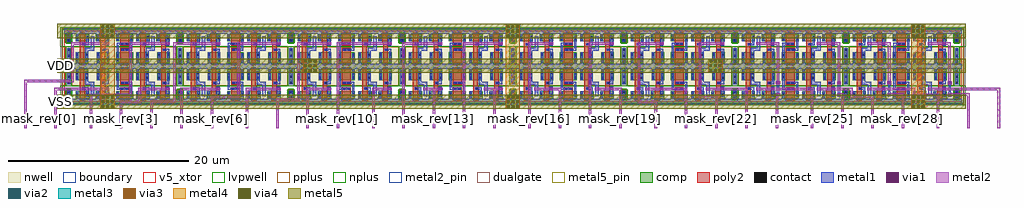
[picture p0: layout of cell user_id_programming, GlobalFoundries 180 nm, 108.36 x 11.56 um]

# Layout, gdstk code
import gdstk
lib = gdstk.Library(unit=1e-6, precision=1e-09)
def R(c, l, rs):  # rectangles x0, y0, x1, y1
    for r in rs: c.add(gdstk.rectangle(r[:2], r[2:], *l))
def A(c, l, x, y, w, h, nx, ny, dx, dy):  # array of equal rectangles
    R(c, l, [(x+i*dx, y+j*dy, x+i*dx+w, y+j*dy+h) for i in range(nx) for j in range(ny)])
def P(c, l, *ps):  # polygons
    for p in ps: c.add(gdstk.Polygon(p, *l))
boundary = (0, 0)
nwell = (21, 0)
comp = (22, 0)
poly2 = (30, 0)
pplus = (31, 0)
nplus = (32, 0)
contact = (33, 0)
metal1 = (34, 0)
via1 = (35, 0)
metal2 = (36, 0)
metal2_pin = (36, 10)
via2 = (38, 0)
via3 = (40, 0)
via4 = (41, 0)
metal3 = (42, 0)
metal4 = (46, 0)
dualgate = (55, 0)
metal5 = (81, 0)
metal5_pin = (81, 10)
v5_xtor = (112, 1)
lvpwell = (204, 0)

endcap_7t5p0 = lib.new_cell('ENDCAP_7T5P0')
R(endcap_7t5p0, boundary, [(0,0,1.12,3.92)])
R(endcap_7t5p0, nwell, [(-0.43,1.76,1.55,4.35)])
R(endcap_7t5p0, comp, [(0.28,0.28,0.8,1.28), (0.36,1.92,0.72,3.56)])
R(endcap_7t5p0, pplus, [(0.2,0.2,0.88,1.36)])
P(endcap_7t5p0, pplus, [(-0.2,1.76),(0.2,1.76),(0.2,3.72),(0.88,3.72),(0.88,1.76),(1.32,1.76),(1.32,4.12),(-0.2,4.12)])
P(endcap_7t5p0, nplus, [(-0.2,-0.2),(1.32,-0.2),(1.32,1.76),(0.88,1.76),(0.88,3.72),(0.88,1.36),(0.88,0.2),(0.2,0.2),(0.2,1.36),(0.88,1.36),(0.88,3.72),(0.2,3.72),(0.2,1.76),(-0.2,1.76)])
A(endcap_7t5p0, contact, 0.43, 1.99, 0.22, 0.22, 1, 3, 0, 0.64)
R(endcap_7t5p0, contact, [(0.43,0.4,0.65,0.62), (0.43,0.905,0.65,1.125)])
P(endcap_7t5p0, metal1, [(0,-0.3),(1.12,-0.3),(1.12,0.3),(0.71,0.3),(0.71,1.19),(0.37,1.19),(0.37,0.3),(0,0.3)],
  [(0,3.62),(0.37,3.62),(0.37,1.92),(0.71,1.92),(0.71,3.62),(1.12,3.62),(1.12,4.22),(0,4.22)])
R(endcap_7t5p0, dualgate, [(-0.28,-0.28,1.4,4.2)])
R(endcap_7t5p0, v5_xtor, [(0,0,1.12,3.92)])
R(endcap_7t5p0, lvpwell, [(-0.43,-0.43,1.55,1.76)])
endcap_7t5p0.add(gdstk.Label('VSS', (0.56,-0.01), layer=34, texttype=10))
endcap_7t5p0.add(gdstk.Label('VDD', (0.56,3.935), layer=34, texttype=10))
endcap_7t5p0.add(gdstk.Label('& Vendor GLOBALFOUNDRIES', (0,2), layer=63, texttype=63))
endcap_7t5p0.add(gdstk.Label('& Product GF018hv5v_mcu_sc7', (0,1.5), layer=63, texttype=63))
endcap_7t5p0.add(gdstk.Label('& Version 2015q2v1', (0,1), layer=63, texttype=63))
endcap_7t5p0.add(gdstk.Label('& Metric 1.00', (0,0.5), layer=63, texttype=63))

tieh_7t5p0 = lib.new_cell('TIEH_7T5P0')
R(tieh_7t5p0, boundary, [(0,0,2.24,3.92)])
R(tieh_7t5p0, nwell, [(-0.43,1.76,2.67,4.35)])
R(tieh_7t5p0, comp, [(0.185,0.34,1.665,1.16), (0.185,2.36,1.565,3.58)])
P(tieh_7t5p0, poly2, [(0.625,0.12),(1.225,0.12),(1.225,1.635),(1.125,1.635),(1.125,3.8),(0.625,3.8)])
R(tieh_7t5p0, pplus, [(-0.2,1.76,2.44,4.12)])
R(tieh_7t5p0, nplus, [(-0.2,-0.2,2.44,1.76)])
R(tieh_7t5p0, contact, [(0.255,0.635,0.475,0.855), (1.375,0.65,1.595,0.87), (0.935,1.345,1.155,1.565), (0.255,2.55,0.475,2.77), (1.275,2.55,1.495,2.77), (0.255,3.02,0.475,3.24), (1.275,3.02,1.495,3.24)])
R(tieh_7t5p0, metal1, [(1.22,2.305,1.58,3.39)])
P(tieh_7t5p0, metal1, [(0.875,1.335),(1.37,1.335),(1.37,0.53),(1.6,0.53),(1.6,1.57),(0.875,1.57)],
  [(0,-0.3),(2.24,-0.3),(2.24,0.3),(0.48,0.3),(0.48,1.16),(0.25,1.16),(0.25,0.3),(0,0.3)],
  [(0,3.62),(0.25,3.62),(0.25,2.36),(0.48,2.36),(0.48,3.62),(2.24,3.62),(2.24,4.22),(0,4.22)])
R(tieh_7t5p0, dualgate, [(-0.28,-0.28,2.52,4.2)])
R(tieh_7t5p0, v5_xtor, [(0,0,2.24,3.92)])
R(tieh_7t5p0, lvpwell, [(-0.43,-0.43,2.67,1.76)])
tieh_7t5p0.add(gdstk.Label('Z', (1.4,3.08), layer=34, texttype=10))
tieh_7t5p0.add(gdstk.Label('VDD', (1.12,3.935), layer=34, texttype=10))
tieh_7t5p0.add(gdstk.Label('VSS', (1.12,-0.03), layer=34, texttype=10))
tieh_7t5p0.add(gdstk.Label('& Vendor GLOBALFOUNDRIES', (0,2), layer=63, texttype=63))
tieh_7t5p0.add(gdstk.Label('& Product GF018hv5v_mcu_sc7', (0,1.5), layer=63, texttype=63))
tieh_7t5p0.add(gdstk.Label('& Version 2015q2v1', (0,1), layer=63, texttype=63))
tieh_7t5p0.add(gdstk.Label('& Metric 1.00', (0,0.5), layer=63, texttype=63))

fillcap_x4_7t5p0 = lib.new_cell('FILLCAP_X4_7T5P0')
R(fillcap_x4_7t5p0, boundary, [(0,0,2.24,3.92)])
R(fillcap_x4_7t5p0, nwell, [(-0.43,1.76,2.67,4.35)])
R(fillcap_x4_7t5p0, comp, [(0.18,0.34,2.06,1.16), (0.18,2.36,2.06,3.58)])
R(fillcap_x4_7t5p0, poly2, [(0.62,0.12,1.62,1.62), (0.62,1.875,1.62,3.8)])
R(fillcap_x4_7t5p0, pplus, [(-0.2,1.76,2.44,4.12)])
R(fillcap_x4_7t5p0, nplus, [(-0.2,-0.2,2.44,1.76)])
R(fillcap_x4_7t5p0, contact, [(0.25,0.735,0.47,0.955), (1.77,0.735,1.99,0.955), (0.765,1.33,0.985,1.55), (1.235,1.33,1.455,1.55), (0.805,1.965,1.025,2.185), (1.275,1.965,1.495,2.185), (0.25,2.59,0.47,2.81), (1.77,2.59,1.99,2.81), (0.25,3.06,0.47,3.28), (1.77,3.06,1.99,3.28)])
P(fillcap_x4_7t5p0, metal1, [(0.245,1.325),(1.52,1.325),(1.52,1.555),(0.475,1.555),(0.475,3.39),(0.245,3.39)],
  [(0.73,1.96),(1.765,1.96),(1.765,0.53),(1.995,0.53),(1.995,2.19),(0.73,2.19)],
  [(0,-0.3),(2.24,-0.3),(2.24,0.3),(0.475,0.3),(0.475,1.095),(0.245,1.095),(0.245,0.3),(0,0.3)],
  [(0,3.62),(1.765,3.62),(1.765,2.49),(1.995,2.49),(1.995,3.62),(2.24,3.62),(2.24,4.22),(0,4.22)])
R(fillcap_x4_7t5p0, dualgate, [(-0.28,-0.28,2.52,4.2)])
R(fillcap_x4_7t5p0, v5_xtor, [(0,0,2.24,3.92)])
R(fillcap_x4_7t5p0, lvpwell, [(-0.43,-0.43,2.67,1.76)])
fillcap_x4_7t5p0.add(gdstk.Label('VDD', (1.12,3.91), layer=34, texttype=10))
fillcap_x4_7t5p0.add(gdstk.Label('VSS', (1.12,-0.03), layer=34, texttype=10))
fillcap_x4_7t5p0.add(gdstk.Label('& Vendor GLOBALFOUNDRIES', (0,2), layer=63, texttype=63))
fillcap_x4_7t5p0.add(gdstk.Label('& Product GF018hv5v_mcu_sc7', (0,1.5), layer=63, texttype=63))
fillcap_x4_7t5p0.add(gdstk.Label('& Version 2015q2v1', (0,1), layer=63, texttype=63))
fillcap_x4_7t5p0.add(gdstk.Label('& Metric 1.00', (0,0.5), layer=63, texttype=63))

tiel_7t5p0 = lib.new_cell('TIEL_7T5P0')
R(tiel_7t5p0, boundary, [(0,0,2.24,3.92)])
R(tiel_7t5p0, nwell, [(-0.43,1.76,2.67,4.35)])
R(tiel_7t5p0, comp, [(0.18,0.34,1.66,1.16), (0.28,2.36,1.66,3.58)])
P(tiel_7t5p0, poly2, [(0.62,0.12),(1.22,0.12),(1.22,3.8),(0.72,3.8),(0.72,1.38),(0.62,1.38)])
R(tiel_7t5p0, pplus, [(-0.2,1.76,2.44,4.12)])
R(tiel_7t5p0, nplus, [(-0.2,-0.2,2.44,1.76)])
R(tiel_7t5p0, contact, [(0.25,0.65,0.47,0.87), (1.37,0.675,1.59,0.895), (0.93,1.955,1.15,2.175), (0.35,2.55,0.57,2.77), (1.37,2.55,1.59,2.77), (0.35,3.075,0.57,3.295), (1.37,3.075,1.59,3.295)])
R(tiel_7t5p0, metal1, [(1.22,0.53,1.595,1.65)])
P(tiel_7t5p0, metal1, [(0.87,1.95),(1.595,1.95),(1.595,3.39),(1.365,3.39),(1.365,2.185),(0.87,2.185)],
  [(0,-0.3),(2.24,-0.3),(2.24,0.3),(0.475,0.3),(0.475,1.16),(0.245,1.16),(0.245,0.3),(0,0.3)],
  [(0,3.62),(0.345,3.62),(0.345,2.345),(0.575,2.345),(0.575,3.62),(2.24,3.62),(2.24,4.22),(0,4.22)])
R(tiel_7t5p0, dualgate, [(-0.28,-0.28,2.52,4.2)])
R(tiel_7t5p0, v5_xtor, [(0,0,2.24,3.92)])
R(tiel_7t5p0, lvpwell, [(-0.43,-0.43,2.67,1.76)])
tiel_7t5p0.add(gdstk.Label('ZN', (1.4,0.84), layer=34, texttype=10))
tiel_7t5p0.add(gdstk.Label('VDD', (1.12,3.915), layer=34, texttype=10))
tiel_7t5p0.add(gdstk.Label('VSS', (1.12,-0.01), layer=34, texttype=10))
tiel_7t5p0.add(gdstk.Label('& Vendor GLOBALFOUNDRIES', (0,2), layer=63, texttype=63))
tiel_7t5p0.add(gdstk.Label('& Product GF018hv5v_mcu_sc7', (0,1.5), layer=63, texttype=63))
tiel_7t5p0.add(gdstk.Label('& Version 2015q2v1', (0,1), layer=63, texttype=63))
tiel_7t5p0.add(gdstk.Label('& Metric 1.00', (0,0.5), layer=63, texttype=63))

filltie_7t5p0 = lib.new_cell('FILLTIE_7T5P0')
R(filltie_7t5p0, boundary, [(0,0,1.12,3.92)])
R(filltie_7t5p0, nwell, [(-0.43,1.76,1.55,4.35)])
R(filltie_7t5p0, comp, [(0.28,0.28,0.84,1.28), (0.36,1.92,0.76,3.56)])
R(filltie_7t5p0, pplus, [(0.2,0.2,0.92,1.36)])
P(filltie_7t5p0, pplus, [(-0.2,1.76),(0.2,1.76),(0.2,3.72),(0.92,3.72),(0.92,1.76),(1.32,1.76),(1.32,4.12),(-0.2,4.12)])
P(filltie_7t5p0, nplus, [(-0.2,-0.2),(1.32,-0.2),(1.32,1.76),(0.92,1.76),(0.92,3.72),(0.92,1.36),(0.92,0.2),(0.2,0.2),(0.2,1.36),(0.92,1.36),(0.92,3.72),(0.2,3.72),(0.2,1.76),(-0.2,1.76)])
A(filltie_7t5p0, contact, 0.45, 1.99, 0.22, 0.22, 1, 3, 0, 0.64)
R(filltie_7t5p0, contact, [(0.45,0.4,0.67,0.62), (0.45,0.905,0.67,1.125)])
P(filltie_7t5p0, metal1, [(0,-0.3),(1.12,-0.3),(1.12,0.3),(0.73,0.3),(0.73,1.185),(0.39,1.185),(0.39,0.3),(0,0.3)],
  [(0,3.62),(0.39,3.62),(0.39,1.93),(0.73,1.93),(0.73,3.62),(1.12,3.62),(1.12,4.22),(0,4.22)])
R(filltie_7t5p0, dualgate, [(-0.28,-0.28,1.4,4.2)])
R(filltie_7t5p0, v5_xtor, [(0,0,1.12,3.92)])
R(filltie_7t5p0, lvpwell, [(-0.43,-0.43,1.55,1.76)])
filltie_7t5p0.add(gdstk.Label('VDD', (0.57,3.92), layer=34, texttype=10))
filltie_7t5p0.add(gdstk.Label('VSS', (0.57,0), layer=34, texttype=10))
filltie_7t5p0.add(gdstk.Label('& Vendor GLOBALFOUNDRIES', (0,2), layer=63, texttype=63))
filltie_7t5p0.add(gdstk.Label('& Product GF018hv5v_mcu_sc7', (0,1.5), layer=63, texttype=63))
filltie_7t5p0.add(gdstk.Label('& Version 2015q2v1', (0,1), layer=63, texttype=63))
filltie_7t5p0.add(gdstk.Label('& Metric 1.00', (0,0.5), layer=63, texttype=63))

user_id_programming = lib.new_cell('user_id_programming')
A(user_id_programming, pplus, 12.285, 5.12, 0.005, 1.58, 8, 2, 12.32, 1.9)
A(user_id_programming, pplus, 11.965, 6.7, 0.645, 0.12, 8, 2, 12.32, 0.2)
A(user_id_programming, pplus, 10.365, 6.82, 3.345, 0.08, 8, 1, 12.32, 0)
R(user_id_programming, pplus, [(5.89,6.82,6.99,6.9), (8.225,6.82,9.325,6.9), (14.945,6.82,16.045,6.9), (18.21,6.82,19.31,6.9), (20.545,6.82,21.645,6.9), (27.265,6.82,28.365,6.9), (30.53,6.82,31.63,6.9), (32.865,6.82,33.965,6.9), (39.585,6.82,40.685,6.9), (42.85,6.82,43.95,6.9), (45.185,6.82,46.285,6.9), (51.905,6.82,53.005,6.9), (55.17,6.82,56.27,6.9), (57.505,6.82,58.605,6.9), (64.225,6.82,65.325,6.9), (67.49,6.82,68.59,6.9), (69.825,6.82,70.925,6.9), (76.545,6.82,77.645,6.9), (79.81,6.82,80.91,6.9), (82.145,6.82,83.245,6.9), (88.865,6.82,89.965,6.9), (92.13,6.82,93.23,6.9), (94.465,6.82,95.565,6.9), (101.185,6.82,102.285,6.9)])
A(user_id_programming, nplus, 12.285, 3.1, 0.005, 1.18, 8, 2, 12.32, 6.34)
A(user_id_programming, metal1, 8.535, 10.49, 1.465, 0.57, 3, 1, 45, 0)
R(user_id_programming, metal1, [(8.545,2.64,10.01,3.24), (53.545,2.655,54.985,3.225), (98.545,2.655,99.985,3.225), (9.025,3.47,9.4,4.59), (15.745,3.47,16.12,4.59), (21.345,3.47,21.72,4.59), (28.065,3.47,28.44,4.59), (33.665,3.47,34.04,4.59), (40.385,3.47,40.76,4.59), (45.985,3.47,46.36,4.59), (52.705,3.47,53.08,4.59), (58.305,3.47,58.68,4.59), (65.025,3.47,65.4,4.59), (70.625,3.47,71,4.59), (77.345,3.47,77.72,4.59), (82.945,3.47,83.32,4.59), (89.665,3.47,90.04,4.59), (95.265,3.47,95.64,4.59), (101.985,3.47,102.36,4.59), (90.34,3.5,90.64,3.92), (102.62,3.5,102.92,3.92), (7.435,3.52,7.81,4.79), (14.155,3.52,14.53,4.79), (19.755,3.52,20.13,4.79), (26.475,3.52,26.85,4.79), (32.075,3.52,32.45,4.79), (38.795,3.52,39.17,4.79), (44.395,3.52,44.77,4.79), (51.115,3.52,51.49,4.79), (56.715,3.52,57.09,4.79), (63.435,3.52,63.81,4.79), (69.035,3.52,69.41,4.79), (75.755,3.52,76.13,4.79), (81.355,3.52,81.73,4.79), (88.075,3.52,88.45,4.79), (93.675,3.52,94.05,4.79), (100.395,3.52,100.77,4.79), (83.555,3.525,83.855,3.945), (95.915,3.525,96.215,3.945), (90.36,3.92,90.625,4.8), (102.645,3.92,102.91,4.8), (83.575,3.945,83.84,4.825), (95.935,3.945,96.2,4.825), (6.785,4.79,7.81,5.15), (13.505,4.79,14.53,5.15), (19.105,4.79,20.13,5.15), (25.825,4.79,26.85,5.15), (31.425,4.79,32.45,5.15), (38.145,4.79,39.17,5.15), (43.745,4.79,44.77,5.15), (50.465,4.79,51.49,5.15), (56.065,4.79,57.09,5.15), (62.785,4.79,63.81,5.15), (68.385,4.79,69.41,5.15), (75.105,4.79,76.13,5.15), (80.705,4.79,81.73,5.15), (87.425,4.79,88.45,5.15), (93.025,4.79,94.05,5.15), (99.745,4.79,100.77,5.15), (90.34,4.8,90.64,5.22), (102.62,4.8,102.92,5.22), (83.555,4.825,83.855,5.245), (95.915,4.825,96.215,5.245), (6.785,5.15,7.145,5.245), (13.505,5.15,13.865,5.245), (19.105,5.15,19.465,5.245), (25.825,5.15,26.185,5.245), (31.425,5.15,31.785,5.245), (38.145,5.15,38.505,5.245), (43.745,5.15,44.105,5.245), (50.465,5.15,50.825,5.245), (56.065,5.15,56.425,5.245), (62.785,5.15,63.145,5.245), (68.385,5.15,68.745,5.245), (75.105,5.15,75.465,5.245), (80.705,5.15,81.065,5.245), (87.425,5.15,87.785,5.245), (93.025,5.15,93.385,5.245), (99.745,5.15,100.105,5.245), (31.045,6.56,32.495,7.16), (76.045,6.56,77.495,7.16), (6.785,8.475,7.145,8.57), (13.505,8.475,13.865,8.57), (19.105,8.475,19.465,8.57), (25.825,8.475,26.185,8.57), (31.425,8.475,31.785,8.57), (38.145,8.475,38.505,8.57), (43.745,8.475,44.105,8.57), (50.465,8.475,50.825,8.57), (56.065,8.475,56.425,8.57), (62.785,8.475,63.145,8.57), (68.385,8.475,68.745,8.57), (75.105,8.475,75.465,8.57), (80.705,8.475,81.065,8.57), (87.425,8.475,87.785,8.57), (93.025,8.475,93.385,8.57), (99.745,8.475,100.105,8.57), (6.785,8.57,7.81,8.93), (13.505,8.57,14.53,8.93), (19.105,8.57,20.13,8.93), (25.825,8.57,26.85,8.93), (31.425,8.57,32.45,8.93), (38.145,8.57,39.17,8.93), (43.745,8.57,44.77,8.93), (50.465,8.57,51.49,8.93), (56.065,8.57,57.09,8.93), (62.785,8.57,63.81,8.93), (68.385,8.57,69.41,8.93), (75.105,8.57,76.13,8.93), (80.705,8.57,81.73,8.93), (87.425,8.57,88.45,8.93), (93.025,8.57,94.05,8.93), (99.745,8.57,100.77,8.93), (7.435,8.93,7.81,10.2), (14.155,8.93,14.53,10.2), (19.755,8.93,20.13,10.2), (26.475,8.93,26.85,10.2), (32.075,8.93,32.45,10.2), (38.795,8.93,39.17,10.2), (44.395,8.93,44.77,10.2), (51.115,8.93,51.49,10.2), (56.715,8.93,57.09,10.2), (63.435,8.93,63.81,10.2), (69.035,8.93,69.41,10.2), (75.755,8.93,76.13,10.2), (81.355,8.93,81.73,10.2), (88.075,8.93,88.45,10.2), (93.675,8.93,94.05,10.2), (100.395,8.93,100.77,10.2), (9.025,9.13,9.4,10.25), (15.745,9.13,16.12,10.25), (21.345,9.13,21.72,10.25), (28.065,9.13,28.44,10.25), (33.665,9.13,34.04,10.25), (40.385,9.13,40.76,10.25), (45.985,9.13,46.36,10.25), (52.705,9.13,53.08,10.25), (58.305,9.13,58.68,10.25), (65.025,9.13,65.4,10.25), (70.625,9.13,71,10.25), (77.345,9.13,77.72,10.25), (82.945,9.13,83.32,10.25), (89.665,9.13,90.04,10.25), (95.265,9.13,95.64,10.25), (101.985,9.13,102.36,10.25)])
A(user_id_programming, via1, 8.615, 2.81, 0.26, 0.26, 3, 2, 0.52, 7.835)
A(user_id_programming, via1, 53.615, 2.81, 0.26, 0.26, 3, 2, 0.52, 7.835)
A(user_id_programming, via1, 98.615, 2.81, 0.26, 0.26, 3, 2, 0.52, 7.835)
A(user_id_programming, via1, 31.12, 6.73, 0.26, 0.26, 3, 1, 0.52, 0)
A(user_id_programming, via1, 76.12, 6.73, 0.26, 0.26, 3, 1, 0.52, 0)
R(user_id_programming, via1, [(90.36,3.58,90.62,3.84), (102.64,3.58,102.9,3.84), (83.575,3.605,83.835,3.865), (95.935,3.605,96.195,3.865), (9.08,4.205,9.34,4.465), (15.8,4.205,16.06,4.465), (21.4,4.205,21.66,4.465), (28.12,4.205,28.38,4.465), (33.72,4.205,33.98,4.465), (40.44,4.205,40.7,4.465), (46.04,4.205,46.3,4.465), (52.76,4.205,53.02,4.465), (58.36,4.205,58.62,4.465), (65.08,4.205,65.34,4.465), (70.68,4.205,70.94,4.465), (77.4,4.205,77.66,4.465), (83,4.205,83.26,4.465), (89.72,4.205,89.98,4.465), (95.32,4.205,95.58,4.465), (102.04,4.205,102.3,4.465), (90.36,4.88,90.62,5.14), (102.64,4.88,102.9,5.14), (83.575,4.905,83.835,5.165), (95.935,4.905,96.195,5.165), (9.08,9.255,9.34,9.515), (15.8,9.255,16.06,9.515), (21.4,9.255,21.66,9.515), (28.12,9.255,28.38,9.515), (33.72,9.255,33.98,9.515), (40.44,9.255,40.7,9.515), (46.04,9.255,46.3,9.515), (52.76,9.255,53.02,9.515), (58.36,9.255,58.62,9.515), (65.08,9.255,65.34,9.515), (70.68,9.255,70.94,9.515), (77.4,9.255,77.66,9.515), (83,9.255,83.26,9.515), (89.72,9.255,89.98,9.515), (95.32,9.255,95.58,9.515), (102.04,9.255,102.3,9.515)])
A(user_id_programming, metal2, 38.64, 0, 0.28, 4.175, 3, 1, 6.72, 0)
A(user_id_programming, metal2, 8.48, 2.125, 1.585, 1.115, 3, 1, 45, 0)
A(user_id_programming, metal2, 8.48, 9.965, 1.59, 0.51, 3, 1, 45, 0)
R(user_id_programming, metal2, [(0,0,0.28,5.1), (3.36,0,3.64,4.175), (7.28,0,7.56,3.55), (10.64,0,10.92,2.76), (14,0,14.28,2.81), (17.36,0,17.64,4.175), (20.72,0,21,3.33), (24.64,0,24.92,4.175), (28,0,28.28,3.015), (31.36,0,31.64,4.175), (34.72,0,35,9.225), (42,0,42.28,9.225), (48.72,0,49,9.225), (56,0,56.28,9.225), (59.36,0,59.64,4.175), (62.72,0,63,9.225), (66.08,0,66.36,4.175), (70,0,70.28,2.765), (73.36,0,73.64,4.175), (76.72,0,77,3.265), (80.08,0,80.36,4.175), (83.44,0,83.72,3.575), (87.36,0,87.64,4.175), (90.72,0,91,3.55), (94.08,0,94.36,3.375), (97.44,0,97.72,3.615), (101.36,0,101.64,3.555), (104.72,0,105,3.565), (108.08,0,108.36,4.175), (10.64,2.76,12.99,3.04), (68.125,2.765,70.28,3.045), (14,2.81,16.845,3.09), (28,3.015,30.615,3.295), (12.71,3.04,12.99,4.175), (68.125,3.045,68.405,9.225), (16.565,3.09,16.845,9.225), (74.89,3.265,77,3.545), (30.335,3.295,30.615,9.225), (20.72,3.33,23.98,3.61), (91.72,3.375,94.36,3.655), (74.89,3.545,75.17,9.225), (7.28,3.55,11.97,3.83), (90.28,3.55,91,3.87), (102.56,3.55,102.98,3.565), (98.68,3.555,101.64,3.835), (102.56,3.565,105,3.845), (95.855,3.57,96.275,3.615), (83.44,3.575,83.95,3.895), (23.7,3.61,23.98,9.225), (95.855,3.615,97.72,3.895), (91.72,3.655,92,4.175), (11.69,3.83,11.97,9.225), (98.68,3.835,98.96,4.175), (102.56,3.845,102.98,3.87), (3.36,4.175,9.465,4.495), (12.71,4.175,16.185,4.495), (17.355,4.175,21.785,4.495), (24.635,4.175,28.505,4.495), (31.36,4.175,34.105,4.495), (38.64,4.175,40.825,4.495), (44.33,4.175,46.465,4.495), (51.05,4.175,53.14,4.495), (56.65,4.175,59.645,4.495), (63.37,4.175,66.36,4.39), (68.97,4.175,73.64,4.495), (75.69,4.175,80.365,4.495), (81.29,4.175,87.64,4.495), (88.01,4.175,92,4.495), (93.6,4.175,98.96,4.495), (100.33,4.175,108.36,4.495), (63.37,4.39,66.355,4.495), (38.64,4.495,38.92,4.5), (90.28,4.85,90.7,5.17), (102.56,4.85,102.98,5.17), (95.855,4.87,96.275,5.195), (83.485,4.875,83.95,5.195), (0,5.1,5.535,5.38), (90.35,5.17,90.63,9.225), (102.63,5.17,102.91,9.225), (83.575,5.195,83.855,9.225), (95.925,5.195,96.205,9.225), (5.255,5.38,5.535,9.225), (30.98,6.125,32.565,7.725), (75.98,6.125,77.565,7.725), (5.255,9.225,9.465,9.545), (11.69,9.225,16.185,9.545), (16.565,9.225,21.785,9.545), (23.7,9.225,28.505,9.545), (30.335,9.225,34.105,9.545), (34.72,9.225,40.825,9.545), (42,9.225,46.435,9.545), (48.72,9.225,53.135,9.545), (56,9.225,58.735,9.545), (62.72,9.225,65.455,9.545), (68.125,9.225,71.055,9.545), (74.89,9.225,77.765,9.545), (81.285,9.225,83.855,9.545), (88.01,9.225,90.63,9.545), (93.615,9.225,96.205,9.545), (100.33,9.225,102.91,9.545), (8.47,10.475,10.07,11.565), (53.47,10.475,55.07,11.08), (98.47,10.475,100.07,11.08), (53.48,11.08,55.07,11.565), (98.48,11.08,100.07,11.565)])
A(user_id_programming, metal2_pin, 7.28, 0, 0.28, 2.05, 5, 1, 3.36, 0)
A(user_id_programming, metal2_pin, 24.64, 0, 0.28, 2.05, 4, 1, 3.36, 0)
A(user_id_programming, metal2_pin, 38.64, 0, 0.28, 2.05, 5, 1, 3.36, 0)
A(user_id_programming, metal2_pin, 56, 0, 0.28, 2.05, 4, 1, 3.36, 0)
A(user_id_programming, metal2_pin, 70, 0, 0.28, 2.05, 5, 1, 3.36, 0)
A(user_id_programming, metal2_pin, 87.36, 0, 0.28, 2.05, 4, 1, 3.36, 0)
A(user_id_programming, metal2_pin, 101.36, 0, 0.28, 2.05, 3, 1, 3.36, 0)
R(user_id_programming, metal2_pin, [(0,0,0.28,2.05), (3.36,0,3.64,2.05)])
A(user_id_programming, via2, 8.63, 2.315, 0.26, 0.26, 3, 2, 0.52, 0.52)
A(user_id_programming, via2, 53.63, 2.315, 0.26, 0.26, 3, 2, 0.52, 0.52)
A(user_id_programming, via2, 98.63, 2.315, 0.26, 0.26, 3, 2, 0.52, 0.52)
A(user_id_programming, via2, 31.12, 6.275, 0.26, 0.26, 3, 3, 0.52, 0.52)
A(user_id_programming, via2, 76.12, 6.275, 0.26, 0.26, 3, 3, 0.52, 0.52)
A(user_id_programming, via2, 8.615, 10.11, 0.26, 0.26, 3, 3, 0.52, 0.52)
A(user_id_programming, via2, 53.615, 10.11, 0.26, 0.26, 3, 3, 0.52, 0.52)
A(user_id_programming, via2, 98.615, 10.11, 0.26, 0.26, 3, 3, 0.52, 0.52)
A(user_id_programming, via3, 8.63, 2.275, 0.26, 0.26, 3, 3, 0.52, 0.52)
A(user_id_programming, via3, 53.63, 2.275, 0.26, 0.26, 3, 3, 0.52, 0.52)
A(user_id_programming, via3, 98.63, 2.275, 0.26, 0.26, 3, 3, 0.52, 0.52)
A(user_id_programming, via3, 31.12, 6.275, 0.26, 0.26, 3, 3, 0.52, 0.52)
A(user_id_programming, via3, 76.12, 6.275, 0.26, 0.26, 3, 3, 0.52, 0.52)
A(user_id_programming, via3, 8.615, 10.11, 0.26, 0.26, 3, 3, 0.52, 0.52)
A(user_id_programming, via3, 53.615, 10.11, 0.26, 0.26, 3, 3, 0.52, 0.52)
A(user_id_programming, via3, 98.615, 10.11, 0.26, 0.26, 3, 3, 0.52, 0.52)
A(user_id_programming, via4, 8.625, 2.265, 0.26, 0.26, 3, 3, 0.52, 0.52)
A(user_id_programming, via4, 53.625, 2.265, 0.26, 0.26, 3, 3, 0.52, 0.52)
A(user_id_programming, via4, 98.625, 2.265, 0.26, 0.26, 3, 3, 0.52, 0.52)
A(user_id_programming, via4, 31.12, 6.275, 0.26, 0.26, 3, 3, 0.52, 0.52)
A(user_id_programming, via4, 76.12, 6.275, 0.26, 0.26, 3, 3, 0.52, 0.52)
A(user_id_programming, via4, 8.615, 10.11, 0.26, 0.26, 3, 3, 0.52, 0.52)
A(user_id_programming, via4, 53.615, 10.11, 0.26, 0.26, 3, 3, 0.52, 0.52)
A(user_id_programming, via4, 98.615, 10.11, 0.26, 0.26, 3, 3, 0.52, 0.52)
A(user_id_programming, metal3, 8.48, 2.125, 1.585, 1.6, 3, 1, 45, 0)
A(user_id_programming, metal3, 8.48, 9.965, 1.59, 1.6, 3, 1, 45, 0)
R(user_id_programming, metal3, [(30.98,6.125,32.565,7.725), (75.98,6.125,77.565,7.725)])
A(user_id_programming, metal4, 8.48, 2.125, 1.585, 9.44, 3, 1, 45, 0)
R(user_id_programming, metal4, [(30.98,6.125,32.565,7.725), (75.98,6.125,77.565,7.725)])
A(user_id_programming, dualgate, 12.005, 2.94, 0.565, 0.07, 8, 2, 12.32, 7.77)
A(user_id_programming, dualgate, 16.085, 2.95, 0.69, 0.06, 8, 2, 12.32, 7.76)
A(user_id_programming, dualgate, 17.875, 2.95, 0.295, 0.06, 7, 2, 12.32, 7.76)
A(user_id_programming, dualgate, 9.735, 3.01, 0.22, 1.69, 8, 2, 12.32, 6.01)
A(user_id_programming, dualgate, 16.455, 3.01, 0.32, 1.69, 8, 2, 12.32, 6.01)
R(user_id_programming, dualgate, [(5.515,2.95,5.85,3.01), (7.5,3.01,7.715,4.7), (14.22,3.01,14.435,4.7), (19.82,3.01,20.035,4.7), (26.54,3.01,26.755,4.7), (32.14,3.01,32.355,4.7), (38.86,3.01,39.075,4.7), (44.46,3.01,44.675,4.7), (51.18,3.01,51.395,4.7), (56.78,3.01,56.995,4.7), (63.5,3.01,63.715,4.7), (69.1,3.01,69.315,4.7), (75.82,3.01,76.035,4.7), (81.42,3.01,81.635,4.7), (88.14,3.01,88.355,4.7), (93.74,3.01,93.955,4.7), (100.46,3.01,100.675,4.7), (7.5,9.02,7.715,10.71), (14.22,9.02,14.435,10.71), (19.82,9.02,20.035,10.71), (26.54,9.02,26.755,10.71), (32.14,9.02,32.355,10.71), (38.86,9.02,39.075,10.71), (44.46,9.02,44.675,10.71), (51.18,9.02,51.395,10.71), (56.78,9.02,56.995,10.71), (63.5,9.02,63.715,10.71), (69.1,9.02,69.315,10.71), (75.82,9.02,76.035,10.71), (81.42,9.02,81.635,10.71), (88.14,9.02,88.355,10.71), (93.74,9.02,93.955,10.71), (100.46,9.02,100.675,10.71), (5.515,10.71,5.85,10.77)])
R(user_id_programming, metal5, [(3.705,2.125,104.58,3.725), (3.705,6.125,104.58,7.725), (3.705,9.965,104.58,11.565)])
R(user_id_programming, metal5_pin, [(3.705,2.125,4.4,3.725), (3.705,6.125,4.4,7.725)])
user_id_programming.add(gdstk.Reference(endcap_7t5p0, (4.445,2.94)))
user_id_programming.add(gdstk.Reference(endcap_7t5p0, (4.445,10.78), x_reflection=True))
user_id_programming.add(gdstk.Reference(tieh_7t5p0, (5.565,2.94)))
user_id_programming.add(gdstk.Reference(tieh_7t5p0, (5.565,10.78), x_reflection=True))
user_id_programming.add(gdstk.Reference(fillcap_x4_7t5p0, (10.045,2.94)))
user_id_programming.add(gdstk.Reference(fillcap_x4_7t5p0, (10.045,10.78), x_reflection=True))
user_id_programming.add(gdstk.Reference(tiel_7t5p0, (7.805,2.94)))
user_id_programming.add(gdstk.Reference(tiel_7t5p0, (7.805,10.78), x_reflection=True))
user_id_programming.add(gdstk.Reference(tieh_7t5p0, (12.285,2.94)))
user_id_programming.add(gdstk.Reference(tieh_7t5p0, (12.285,10.78), x_reflection=True))
user_id_programming.add(gdstk.Reference(filltie_7t5p0, (16.765,10.78), x_reflection=True))
user_id_programming.add(gdstk.Reference(filltie_7t5p0, (16.765,2.94)))
user_id_programming.add(gdstk.Reference(tiel_7t5p0, (14.525,2.94)))
user_id_programming.add(gdstk.Reference(tiel_7t5p0, (14.525,10.78), x_reflection=True))
user_id_programming.add(gdstk.Reference(tieh_7t5p0, (17.885,10.78), x_reflection=True))
user_id_programming.add(gdstk.Reference(tieh_7t5p0, (17.885,2.94)))
user_id_programming.add(gdstk.Reference(fillcap_x4_7t5p0, (22.365,10.78), x_reflection=True))
user_id_programming.add(gdstk.Reference(fillcap_x4_7t5p0, (22.365,2.94)))
user_id_programming.add(gdstk.Reference(tiel_7t5p0, (20.125,10.78), x_reflection=True))
user_id_programming.add(gdstk.Reference(tiel_7t5p0, (20.125,2.94)))
user_id_programming.add(gdstk.Reference(tieh_7t5p0, (24.605,10.78), x_reflection=True))
user_id_programming.add(gdstk.Reference(tieh_7t5p0, (24.605,2.94)))
user_id_programming.add(gdstk.Reference(filltie_7t5p0, (29.085,10.78), x_reflection=True))
user_id_programming.add(gdstk.Reference(filltie_7t5p0, (29.085,2.94)))
user_id_programming.add(gdstk.Reference(tiel_7t5p0, (26.845,10.78), x_reflection=True))
user_id_programming.add(gdstk.Reference(tiel_7t5p0, (26.845,2.94)))
user_id_programming.add(gdstk.Reference(tieh_7t5p0, (30.205,10.78), x_reflection=True))
user_id_programming.add(gdstk.Reference(tieh_7t5p0, (30.205,2.94)))
user_id_programming.add(gdstk.Reference(fillcap_x4_7t5p0, (34.685,10.78), x_reflection=True))
user_id_programming.add(gdstk.Reference(fillcap_x4_7t5p0, (34.685,2.94)))
user_id_programming.add(gdstk.Reference(tiel_7t5p0, (32.445,10.78), x_reflection=True))
user_id_programming.add(gdstk.Reference(tiel_7t5p0, (32.445,2.94)))
user_id_programming.add(gdstk.Reference(tieh_7t5p0, (36.925,10.78), x_reflection=True))
user_id_programming.add(gdstk.Reference(tieh_7t5p0, (36.925,2.94)))
user_id_programming.add(gdstk.Reference(filltie_7t5p0, (41.405,10.78), x_reflection=True))
user_id_programming.add(gdstk.Reference(filltie_7t5p0, (41.405,2.94)))
user_id_programming.add(gdstk.Reference(tiel_7t5p0, (39.165,10.78), x_reflection=True))
user_id_programming.add(gdstk.Reference(tiel_7t5p0, (39.165,2.94)))
user_id_programming.add(gdstk.Reference(tieh_7t5p0, (42.525,10.78), x_reflection=True))
user_id_programming.add(gdstk.Reference(tieh_7t5p0, (42.525,2.94)))
user_id_programming.add(gdstk.Reference(tiel_7t5p0, (44.765,10.78), x_reflection=True))
user_id_programming.add(gdstk.Reference(tiel_7t5p0, (44.765,2.94)))
user_id_programming.add(gdstk.Reference(fillcap_x4_7t5p0, (47.005,10.78), x_reflection=True))
user_id_programming.add(gdstk.Reference(fillcap_x4_7t5p0, (47.005,2.94)))
user_id_programming.add(gdstk.Reference(tieh_7t5p0, (49.245,10.78), x_reflection=True))
user_id_programming.add(gdstk.Reference(tieh_7t5p0, (49.245,2.94)))
user_id_programming.add(gdstk.Reference(filltie_7t5p0, (53.725,10.78), x_reflection=True))
user_id_programming.add(gdstk.Reference(filltie_7t5p0, (53.725,2.94)))
user_id_programming.add(gdstk.Reference(tiel_7t5p0, (51.485,10.78), x_reflection=True))
user_id_programming.add(gdstk.Reference(tiel_7t5p0, (51.485,2.94)))
user_id_programming.add(gdstk.Reference(tieh_7t5p0, (54.845,10.78), x_reflection=True))
user_id_programming.add(gdstk.Reference(tieh_7t5p0, (54.845,2.94)))
user_id_programming.add(gdstk.Reference(tiel_7t5p0, (57.085,10.78), x_reflection=True))
user_id_programming.add(gdstk.Reference(tiel_7t5p0, (57.085,2.94)))
user_id_programming.add(gdstk.Reference(fillcap_x4_7t5p0, (59.325,10.78), x_reflection=True))
user_id_programming.add(gdstk.Reference(fillcap_x4_7t5p0, (59.325,2.94)))
user_id_programming.add(gdstk.Reference(tieh_7t5p0, (61.565,10.78), x_reflection=True))
user_id_programming.add(gdstk.Reference(tieh_7t5p0, (61.565,2.94)))
user_id_programming.add(gdstk.Reference(filltie_7t5p0, (66.045,10.78), x_reflection=True))
user_id_programming.add(gdstk.Reference(filltie_7t5p0, (66.045,2.94)))
user_id_programming.add(gdstk.Reference(tiel_7t5p0, (63.805,10.78), x_reflection=True))
user_id_programming.add(gdstk.Reference(tiel_7t5p0, (63.805,2.94)))
user_id_programming.add(gdstk.Reference(tieh_7t5p0, (67.165,10.78), x_reflection=True))
user_id_programming.add(gdstk.Reference(tieh_7t5p0, (67.165,2.94)))
user_id_programming.add(gdstk.Reference(tiel_7t5p0, (69.405,10.78), x_reflection=True))
user_id_programming.add(gdstk.Reference(tiel_7t5p0, (69.405,2.94)))
user_id_programming.add(gdstk.Reference(fillcap_x4_7t5p0, (71.645,10.78), x_reflection=True))
user_id_programming.add(gdstk.Reference(fillcap_x4_7t5p0, (71.645,2.94)))
user_id_programming.add(gdstk.Reference(tieh_7t5p0, (73.885,10.78), x_reflection=True))
user_id_programming.add(gdstk.Reference(tieh_7t5p0, (73.885,2.94)))
user_id_programming.add(gdstk.Reference(filltie_7t5p0, (78.365,10.78), x_reflection=True))
user_id_programming.add(gdstk.Reference(filltie_7t5p0, (78.365,2.94)))
user_id_programming.add(gdstk.Reference(tiel_7t5p0, (76.125,10.78), x_reflection=True))
user_id_programming.add(gdstk.Reference(tiel_7t5p0, (76.125,2.94)))
user_id_programming.add(gdstk.Reference(tieh_7t5p0, (79.485,10.78), x_reflection=True))
user_id_programming.add(gdstk.Reference(tieh_7t5p0, (79.485,2.94)))
user_id_programming.add(gdstk.Reference(tiel_7t5p0, (81.725,10.78), x_reflection=True))
user_id_programming.add(gdstk.Reference(tiel_7t5p0, (81.725,2.94)))
user_id_programming.add(gdstk.Reference(fillcap_x4_7t5p0, (83.965,10.78), x_reflection=True))
user_id_programming.add(gdstk.Reference(fillcap_x4_7t5p0, (83.965,2.94)))
user_id_programming.add(gdstk.Reference(tieh_7t5p0, (86.205,10.78), x_reflection=True))
user_id_programming.add(gdstk.Reference(tieh_7t5p0, (86.205,2.94)))
user_id_programming.add(gdstk.Reference(filltie_7t5p0, (90.685,10.78), x_reflection=True))
user_id_programming.add(gdstk.Reference(filltie_7t5p0, (90.685,2.94)))
user_id_programming.add(gdstk.Reference(tiel_7t5p0, (88.445,10.78), x_reflection=True))
user_id_programming.add(gdstk.Reference(tiel_7t5p0, (88.445,2.94)))
user_id_programming.add(gdstk.Reference(tieh_7t5p0, (91.805,10.78), x_reflection=True))
user_id_programming.add(gdstk.Reference(tieh_7t5p0, (91.805,2.94)))
user_id_programming.add(gdstk.Reference(tiel_7t5p0, (94.045,10.78), x_reflection=True))
user_id_programming.add(gdstk.Reference(tiel_7t5p0, (94.045,2.94)))
user_id_programming.add(gdstk.Reference(fillcap_x4_7t5p0, (96.285,10.78), x_reflection=True))
user_id_programming.add(gdstk.Reference(fillcap_x4_7t5p0, (96.285,2.94)))
user_id_programming.add(gdstk.Reference(tieh_7t5p0, (98.525,10.78), x_reflection=True))
user_id_programming.add(gdstk.Reference(tieh_7t5p0, (98.525,2.94)))
user_id_programming.add(gdstk.Reference(endcap_7t5p0, (103.005,2.94)))
user_id_programming.add(gdstk.Reference(endcap_7t5p0, (103.005,10.78), x_reflection=True))
user_id_programming.add(gdstk.Reference(tiel_7t5p0, (100.765,10.78), x_reflection=True))
user_id_programming.add(gdstk.Reference(tiel_7t5p0, (100.765,2.94)))
user_id_programming.add(gdstk.Label('mask_rev[0]', (0.14,1.025), layer=36, texttype=10))
user_id_programming.add(gdstk.Label('mask_rev[10]', (34.86,1.025), layer=36, texttype=10))
user_id_programming.add(gdstk.Label('mask_rev[11]', (38.78,1.025), layer=36, texttype=10))
user_id_programming.add(gdstk.Label('mask_rev[12]', (42.14,1.025), layer=36, texttype=10))
user_id_programming.add(gdstk.Label('mask_rev[13]', (45.5,1.025), layer=36, texttype=10))
user_id_programming.add(gdstk.Label('mask_rev[14]', (48.86,1.025), layer=36, texttype=10))
user_id_programming.add(gdstk.Label('mask_rev[15]', (52.22,1.025), layer=36, texttype=10))
user_id_programming.add(gdstk.Label('mask_rev[16]', (56.14,1.025), layer=36, texttype=10))
user_id_programming.add(gdstk.Label('mask_rev[17]', (59.5,1.025), layer=36, texttype=10))
user_id_programming.add(gdstk.Label('mask_rev[18]', (62.86,1.025), layer=36, texttype=10))
user_id_programming.add(gdstk.Label('mask_rev[19]', (66.22,1.025), layer=36, texttype=10))
user_id_programming.add(gdstk.Label('mask_rev[1]', (3.5,1.025), layer=36, texttype=10))
user_id_programming.add(gdstk.Label('mask_rev[20]', (70.14,1.025), layer=36, texttype=10))
user_id_programming.add(gdstk.Label('mask_rev[21]', (73.5,1.025), layer=36, texttype=10))
user_id_programming.add(gdstk.Label('mask_rev[22]', (76.86,1.025), layer=36, texttype=10))
user_id_programming.add(gdstk.Label('mask_rev[23]', (80.22,1.025), layer=36, texttype=10))
user_id_programming.add(gdstk.Label('mask_rev[24]', (83.58,1.025), layer=36, texttype=10))
user_id_programming.add(gdstk.Label('mask_rev[25]', (87.5,1.025), layer=36, texttype=10))
user_id_programming.add(gdstk.Label('mask_rev[26]', (90.86,1.025), layer=36, texttype=10))
user_id_programming.add(gdstk.Label('mask_rev[27]', (94.22,1.025), layer=36, texttype=10))
user_id_programming.add(gdstk.Label('mask_rev[28]', (97.58,1.025), layer=36, texttype=10))
user_id_programming.add(gdstk.Label('mask_rev[29]', (101.5,1.025), layer=36, texttype=10))
user_id_programming.add(gdstk.Label('mask_rev[2]', (7.42,1.025), layer=36, texttype=10))
user_id_programming.add(gdstk.Label('mask_rev[30]', (104.86,1.025), layer=36, texttype=10))
user_id_programming.add(gdstk.Label('mask_rev[31]', (108.22,1.025), layer=36, texttype=10))
user_id_programming.add(gdstk.Label('mask_rev[3]', (10.78,1.025), layer=36, texttype=10))
user_id_programming.add(gdstk.Label('mask_rev[4]', (14.14,1.025), layer=36, texttype=10))
user_id_programming.add(gdstk.Label('mask_rev[5]', (17.5,1.025), layer=36, texttype=10))
user_id_programming.add(gdstk.Label('mask_rev[6]', (20.86,1.025), layer=36, texttype=10))
user_id_programming.add(gdstk.Label('mask_rev[7]', (24.78,1.025), layer=36, texttype=10))
user_id_programming.add(gdstk.Label('mask_rev[8]', (28.14,1.025), layer=36, texttype=10))
user_id_programming.add(gdstk.Label('mask_rev[9]', (31.5,1.025), layer=36, texttype=10))
user_id_programming.add(gdstk.Label('VDD', (4.052,6.925), layer=81, texttype=10))
user_id_programming.add(gdstk.Label('VSS', (4.052,2.925), layer=81, texttype=10))

lib.write_gds('user_id_programming.gds')
